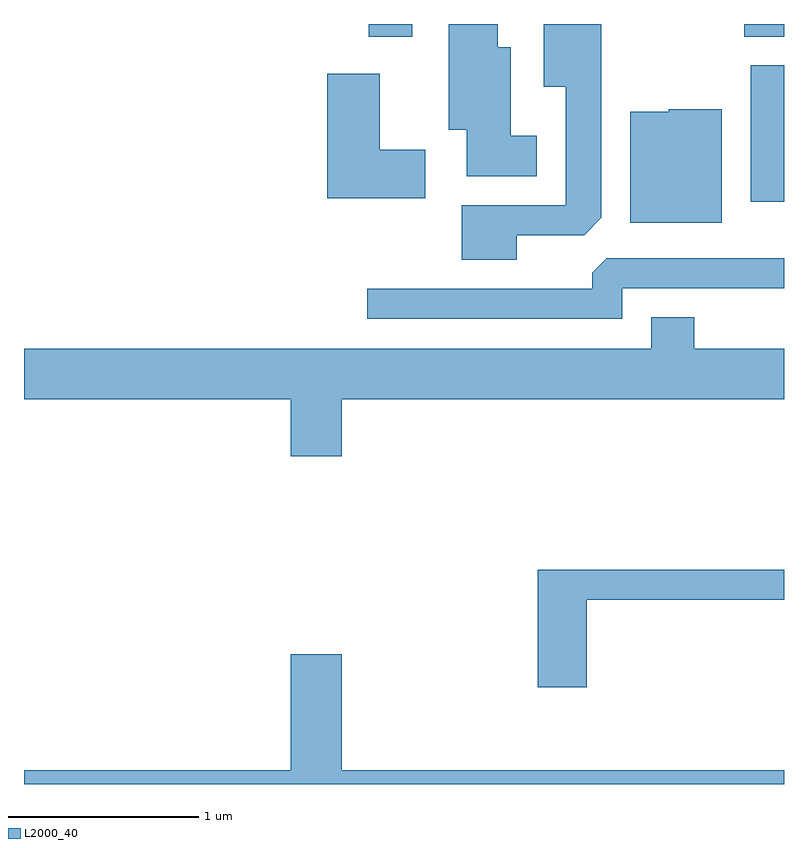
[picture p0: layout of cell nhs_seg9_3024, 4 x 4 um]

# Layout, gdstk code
import gdstk
lib = gdstk.Library(unit=1e-6, precision=1e-09)
def R(c, l, rs):  # rectangles x0, y0, x1, y1
    for r in rs: c.add(gdstk.rectangle(r[:2], r[2:], *l))
def P(c, l, *ps):  # polygons
    for p in ps: c.add(gdstk.Polygon(p, *l))
L2000_40 = (2000, 40)

nhs_seg9_3024 = lib.new_cell('nhs_seg9_3024')
R(nhs_seg9_3024, L2000_40, [(277.436,2019.496,277.611,2020.214), (275.426,2020.366,275.654,2020.432), (277.401,2020.366,277.611,2020.432)])
P(nhs_seg9_3024, L2000_40, [(276.309,2019.844),(276.174,2019.844),(276.174,2020.309),(276.104,2020.309),(276.104,2020.432),(275.846,2020.432),(275.846,2019.876),(275.941,2019.876),(275.941,2019.631),(276.309,2019.631)],
  [(276.204,2019.321),(276.559,2019.321),(276.649,2019.412),(276.649,2020.432),(276.346,2020.432),(276.346,2020.101),(276.461,2020.101),(276.461,2019.479),(275.916,2019.479),(275.916,2019.191),(276.204,2019.191)],
  [(275.724,2019.769),(275.484,2019.769),(275.484,2020.169),(275.206,2020.169),(275.206,2019.516),(275.724,2019.516)],
  [(277.284,2019.984),(277.005,2019.984),(277.005,2019.969),(276.801,2019.969),(276.801,2019.386),(277.284,2019.386)],
  [(276.759,2019.041),(277.611,2019.041),(277.611,2019.199),(276.677,2019.199),(276.601,2019.124),(276.601,2019.039),(275.418,2019.039),(275.418,2018.881),(276.759,2018.881)],
  [(275.284,2018.456),(277.611,2018.456),(277.611,2018.724),(277.139,2018.724),(277.139,2018.889),(276.911,2018.889),(276.911,2018.724),(273.611,2018.724),(273.611,2018.456),(275.016,2018.456),(275.016,2018.156),(275.284,2018.156)],
  [(276.574,2017.401),(277.611,2017.401),(277.611,2017.559),(276.316,2017.559),(276.316,2016.941),(276.574,2016.941)],
  [(277.611,2016.504),(275.284,2016.504),(275.284,2017.114),(275.016,2017.114),(275.016,2016.504),(273.611,2016.504),(273.611,2016.432),(277.611,2016.432)])

lib.write_gds('nhs_seg9_3024.gds')
